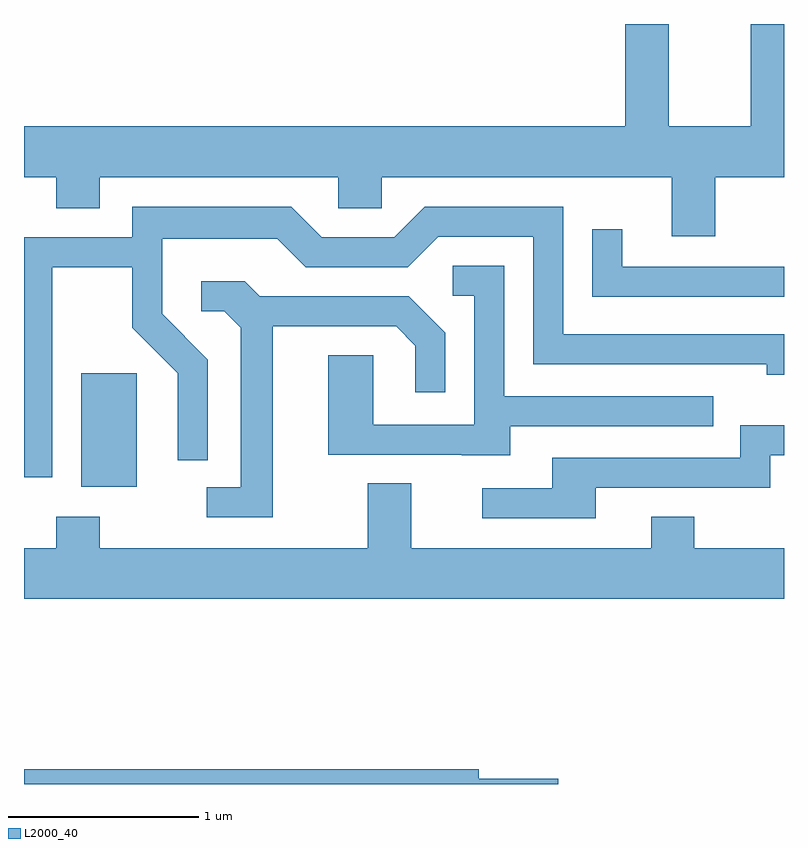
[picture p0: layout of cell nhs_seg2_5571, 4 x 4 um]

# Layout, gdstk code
import gdstk
lib = gdstk.Library(unit=1e-6, precision=1e-09)
def R(c, l, rs):  # rectangles x0, y0, x1, y1
    for r in rs: c.add(gdstk.rectangle(r[:2], r[2:], *l))
def P(c, l, *ps):  # polygons
    for p in ps: c.add(gdstk.Polygon(p, *l))
L2000_40 = (2000, 40)

nhs_seg2_5571 = lib.new_cell('nhs_seg2_5571')
R(nhs_seg2_5571, L2000_40, [(349.911,1033.366,350.204,1033.964)])
P(nhs_seg2_5571, L2000_40, [(353.249,1034.996),(353.611,1034.996),(353.611,1035.802),(353.436,1035.802),(353.436,1035.264),(353.004,1035.264),(353.004,1035.802),(352.776,1035.802),(352.776,1035.264),(349.611,1035.264),(349.611,1034.996),(349.781,1034.996),(349.781,1034.831),(350.009,1034.831),(350.009,1034.996),(351.266,1034.996),(351.266,1034.831),(351.494,1034.831),(351.494,1034.996),(353.021,1034.996),(353.021,1034.686),(353.249,1034.686)],
  [(349.759,1034.521),(350.181,1034.521),(350.181,1034.204),(350.421,1033.964),(350.421,1033.507),(350.579,1033.507),(350.579,1034.036),(350.339,1034.277),(350.339,1034.671),(350.944,1034.671),(351.094,1034.521),(351.632,1034.521),(351.792,1034.681),(352.291,1034.681),(352.291,1034.011),(353.521,1034.011),(353.521,1033.956),(353.611,1033.956),(353.611,1034.169),(352.449,1034.169),(352.449,1034.839),(351.719,1034.839),(351.559,1034.679),(351.177,1034.679),(351.017,1034.839),(350.181,1034.839),(350.181,1034.679),(349.611,1034.679),(349.611,1033.416),(349.759,1033.416)],
  [(353.611,1034.524),(352.759,1034.524),(352.759,1034.723),(352.601,1034.723),(352.601,1034.366),(353.611,1034.366)],
  [(352.169,1033.686),(353.238,1033.686),(353.238,1033.844),(352.139,1033.844),(352.139,1034.529),(351.868,1034.529),(351.868,1034.371),(351.981,1034.371),(351.981,1033.694),(351.449,1033.694),(351.449,1034.059),(351.211,1034.059),(351.211,1033.536),(351.915,1033.536),(351.915,1033.531),(352.169,1033.531)],
  [(350.919,1034.211),(351.569,1034.211),(351.671,1034.109),(351.671,1033.863),(351.829,1033.863),(351.829,1034.177),(351.637,1034.369),(350.852,1034.369),(350.772,1034.449),(350.543,1034.449),(350.543,1034.291),(350.664,1034.291),(350.751,1034.204),(350.751,1033.364),(350.573,1033.364),(350.573,1033.206),(350.919,1033.206)],
  [(352.619,1033.361),(353.539,1033.361),(353.539,1033.531),(353.611,1033.531),(353.611,1033.689),(353.381,1033.689),(353.381,1033.519),(352.391,1033.519),(352.391,1033.359),(352.023,1033.359),(352.023,1033.201),(352.619,1033.201)],
  [(352.911,1033.209),(352.911,1033.044),(351.649,1033.044),(351.649,1033.384),(351.421,1033.384),(351.421,1033.044),(350.009,1033.044),(350.009,1033.209),(349.781,1033.209),(349.781,1033.044),(349.611,1033.044),(349.611,1032.776),(353.611,1032.776),(353.611,1033.044),(353.139,1033.044),(353.139,1033.209)],
  [(352.424,1031.829),(352.004,1031.829),(352.004,1031.879),(349.611,1031.879),(349.611,1031.802),(352.424,1031.802)])

lib.write_gds('nhs_seg2_5571.gds')
